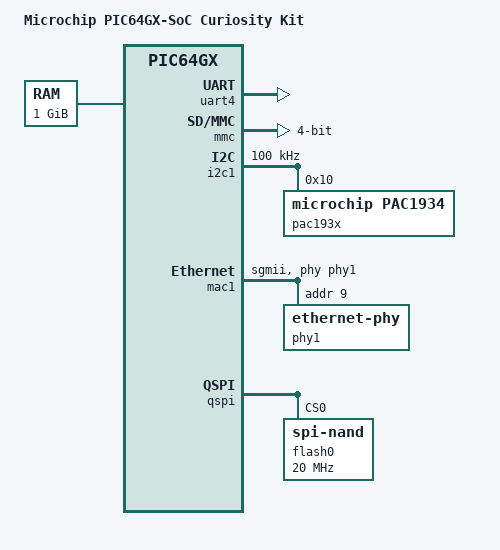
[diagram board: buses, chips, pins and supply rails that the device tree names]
// SPDX-License-Identifier: (GPL-2.0+ OR MIT)
/*
 * Copyright (C) 2024 Microchip Technology Inc.
 */

/dts-v1/;

#include "microchip-pic64gx.dtsi"

/* Clock frequency (in Hz) of the rtcclk */
#define RTCCLK_FREQ		1000000

/ {
	model = "Microchip PIC64GX-SoC Curiosity Kit";
	compatible = "microchip,pic64gx-curiosity-kit", "microchip,pic64gx";

	aliases {
		serial1 = &uart1;
		ethernet0 = &mac0;
	};

	chosen {
		stdout-path = "serial1";
	};

	cpus {
		timebase-frequency = <RTCCLK_FREQ>;
	};

	ddr_cached_low: memory@80000000 {
		device_type = "memory";
		reg = <0x0 0x80000000 0x0 0x40000000>;
		label = "kernel";
	};

	reserved-memory {
		#address-cells = <2>;
		#size-cells = <2>;
		ranges;

		hss: hss-buffer {
			compatible = "shared-dma-pool";
			reg = <0x0 0xbfc00000 0x0 0x400000>;
			no-map;
		};
	};
};

&refclk {
	clock-frequency = <125000000>;
};

&cpu4 {
	status = "disabled"; // in use by context b
};

&uart4 {
	status = "okay";
};

&uart3 {
	status = "disabled";
};

&mmc {
	status = "okay";
	bus-width = <4>;
	disable-wp;
	cap-mmc-highspeed;
	cap-sd-highspeed;
	card-detect-delay = <200>;
	mmc-ddr-1_8v;
	mmc-hs200-1_8v;
	sd-uhs-sdr12;
	sd-uhs-sdr25;
	sd-uhs-sdr50;
	sd-uhs-sdr104;
};

&i2c1 {
	status = "okay";
	clock-frequency = <100000>;

	pac193x: pac193x@10 {
		compatible = "microchip,pac1934";
		reg = <0x10>;
		samp-rate = <64>;
		status = "okay";
		ch1: channel0 {
			uohms-shunt-res = <10000>;
			rail-name = "VDDREG";
			channel_enabled;
		};
		ch2: channel1 {
			uohms-shunt-res = <10000>;
			rail-name = "VDDA25";
			channel_enabled;
		};
		ch3: channel2 {
			uohms-shunt-res = <10000>;
			rail-name = "VDD25";
			channel_enabled;
		};
		ch4: channel3 {
			uohms-shunt-res = <10000>;
			rail-name = "VDDA_REG";
			channel_enabled;
		};
	};
};

&mac1 {
	status = "okay";
	phy-mode = "sgmii";
	phy-handle = <&phy1>;
	phy1: ethernet-phy@9 {
		reg = <9>;
	};
};

&qspi {
	status = "okay";
	num-cs = <1>;
	flash0: spi-nand@0 {
		compatible = "spi-nand";
		reg = <0x0>;
		spi-tx-bus-width = <4>;
		spi-rx-bus-width = <4>;
		spi-max-frequency = <20000000>;
		spi-cpol;
		spi-cpha;
	};
};
